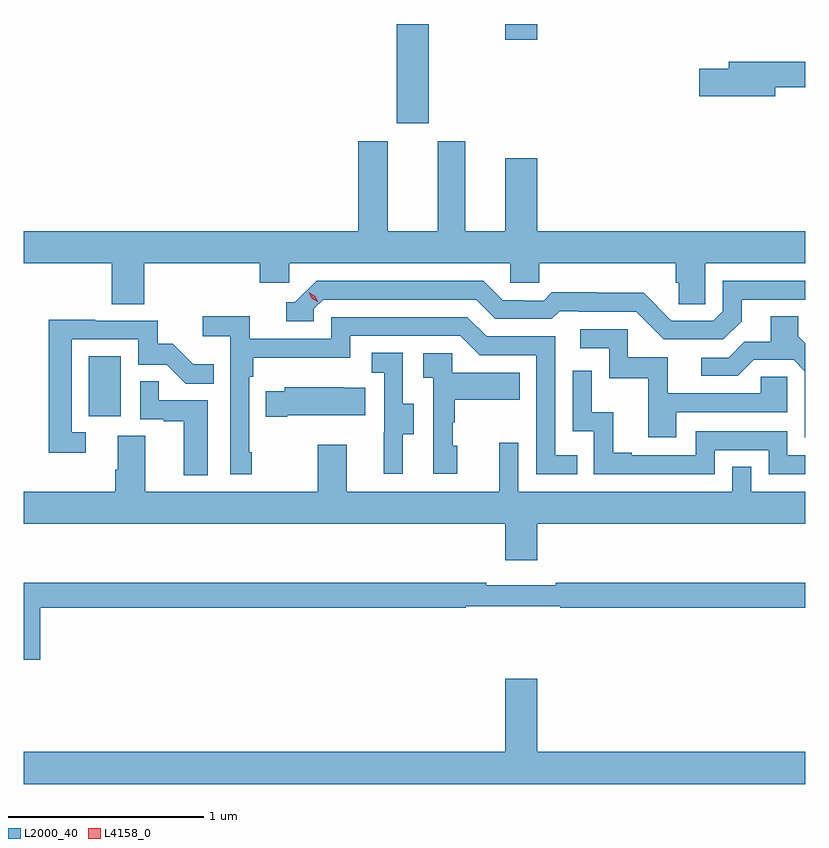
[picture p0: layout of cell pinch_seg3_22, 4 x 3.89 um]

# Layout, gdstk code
import gdstk
lib = gdstk.Library(unit=1e-6, precision=1e-09)
def R(c, l, rs):  # rectangles x0, y0, x1, y1
    for r in rs: c.add(gdstk.rectangle(r[:2], r[2:], *l))
def P(c, l, *ps):  # polygons
    for p in ps: c.add(gdstk.Polygon(p, *l))
L2000_40 = (2000, 40)
L4158_0 = (4158, 0)

pinch_seg3_22 = lib.new_cell('pinch_seg3_22')
R(pinch_seg3_22, L2000_40, [(1097.942,732.102,1098.106,732.409), (1099.517,733.602,1099.681,734.109), (1100.072,734.028,1100.236,734.109)])
P(pinch_seg3_22, L2000_40, [(1101.454,733.786),(1101.608,733.786),(1101.608,733.915),(1101.215,733.915),(1101.215,733.881),(1101.066,733.881),(1101.066,733.739),(1101.454,733.739)],
  [(1098.224,732.884),(1098.815,732.884),(1098.815,732.786),(1098.966,732.786),(1098.966,732.884),(1100.097,732.884),(1100.097,732.786),(1100.247,732.786),(1100.247,732.884),(1100.945,732.884),(1100.945,732.786),(1100.959,732.786),(1100.959,732.676),(1101.096,732.676),(1101.096,732.884),(1101.608,732.884),(1101.608,733.048),(1100.236,733.048),(1100.236,733.423),(1100.072,733.423),(1100.072,733.048),(1099.867,733.048),(1099.867,733.51),(1099.727,733.51),(1099.727,733.048),(1099.471,733.048),(1099.471,733.51),(1099.319,733.51),(1099.319,733.048),(1097.608,733.048),(1097.608,732.884),(1098.059,732.884),(1098.059,732.676),(1098.224,732.676)],
  [(1101.283,732.589),(1101.283,732.699),(1101.608,732.699),(1101.608,732.795),(1101.186,732.795),(1101.186,732.639),(1101.138,732.591),(1100.922,732.591),(1100.78,732.733),(1100.544,732.733),(1100.544,732.736),(1100.311,732.736),(1100.269,732.693),(1100.166,732.693),(1100.166,732.696),(1100.059,732.696),(1099.96,732.795),(1099.107,732.795),(1098.996,732.684),(1098.953,732.684),(1098.953,732.588),(1099.092,732.588),(1099.092,732.651),(1099.14,732.699),(1099.923,732.699),(1100.022,732.6),(1100.311,732.6),(1100.35,732.639),(1100.449,732.639),(1100.449,732.636),(1100.742,732.636),(1100.883,732.495),(1101.189,732.495)],
  [(1101.608,732.475),(1101.571,732.512),(1101.571,732.614),(1101.431,732.614),(1101.431,732.482),(1101.296,732.482),(1101.216,732.402),(1101.075,732.402),(1101.075,732.309),(1101.262,732.309),(1101.343,732.39),(1101.549,732.39),(1101.606,732.333),(1101.606,731.994),(1101.608,731.994)],
  [(1098.775,731.917),(1098.762,731.917),(1098.762,732.305),(1098.782,732.305),(1098.782,732.401),(1099.278,732.401),(1099.278,732.513),(1099.842,732.513),(1099.941,732.414),(1100.232,732.414),(1100.232,731.805),(1100.441,731.805),(1100.441,731.901),(1100.328,731.901),(1100.328,732.51),(1099.978,732.51),(1099.879,732.609),(1099.182,732.609),(1099.182,732.498),(1098.764,732.498),(1098.764,732.614),(1098.525,732.614),(1098.525,732.512),(1098.666,732.512),(1098.666,731.805),(1098.775,731.805)],
  [(1097.926,732.021),(1097.853,732.021),(1097.853,732.495),(1098.195,732.495),(1098.195,732.366),(1098.34,732.366),(1098.438,732.268),(1098.581,732.268),(1098.581,732.367),(1098.477,732.367),(1098.37,732.474),(1098.294,732.474),(1098.294,732.591),(1097.975,732.591),(1097.975,732.596),(1097.737,732.596),(1097.737,731.916),(1097.926,731.916)],
  [(1100.947,732.123),(1101.516,732.123),(1101.516,732.303),(1101.379,732.303),(1101.379,732.219),(1100.905,732.219),(1100.905,732.405),(1100.7,732.405),(1100.7,732.546),(1100.457,732.546),(1100.457,732.45),(1100.604,732.45),(1100.604,732.297),(1100.803,732.297),(1100.803,731.994),(1100.947,731.994)],
  [(1099.549,732.01),(1099.603,732.01),(1099.603,732.165),(1099.548,732.165),(1099.548,732.428),(1099.389,732.428),(1099.389,732.325),(1099.452,732.325),(1099.452,732.021),(1099.451,732.021),(1099.451,731.808),(1099.549,731.808)],
  [(1099.828,731.952),(1099.803,731.952),(1099.803,732.071),(1099.813,732.071),(1099.813,732.185),(1100.147,732.185),(1100.147,732.325),(1099.8,732.325),(1099.8,732.423),(1099.653,732.423),(1099.653,732.299),(1099.704,732.299),(1099.704,731.808),(1099.828,731.808)],
  [(1101.144,731.928),(1101.42,731.928),(1101.42,731.805),(1101.608,731.805),(1101.608,731.901),(1101.516,731.901),(1101.516,732.024),(1101.048,732.024),(1101.048,731.901),(1100.719,731.901),(1100.719,731.914),(1100.624,731.914),(1100.624,732.122),(1100.514,732.122),(1100.514,732.334),(1100.418,732.334),(1100.418,732.024),(1100.526,732.024),(1100.526,731.805),(1101.144,731.805)],
  [(1098.55,732.183),(1098.299,732.183),(1098.299,732.281),(1098.204,732.281),(1098.204,732.087),(1098.325,732.087),(1098.325,732.075),(1098.428,732.075),(1098.428,731.801),(1098.55,731.801)],
  [(1098.958,732.107),(1099.355,732.107),(1099.355,732.247),(1099.247,732.247),(1099.247,732.25),(1098.945,732.25),(1098.945,732.229),(1098.847,732.229),(1098.847,732.1),(1098.958,732.1)],
  [(1100.236,731.552),(1101.608,731.552),(1101.608,731.716),(1101.33,731.716),(1101.33,731.843),(1101.234,731.843),(1101.234,731.716),(1100.139,731.716),(1100.139,731.965),(1100.042,731.965),(1100.042,731.716),(1099.261,731.716),(1099.261,731.956),(1099.114,731.956),(1099.114,731.716),(1098.229,731.716),(1098.229,732.002),(1098.089,732.002),(1098.089,731.828),(1098.077,731.828),(1098.077,731.716),(1097.608,731.716),(1097.608,731.552),(1100.072,731.552),(1100.072,731.364),(1100.236,731.364)],
  [(1097.693,731.122),(1099.87,731.122),(1099.87,731.13),(1100.355,731.13),(1100.355,731.122),(1101.608,731.122),(1101.608,731.251),(1100.332,731.251),(1100.332,731.238),(1099.976,731.238),(1099.976,731.251),(1097.608,731.251),(1097.608,730.857),(1097.693,730.857)],
  [(1101.608,730.384),(1100.236,730.384),(1100.236,730.759),(1100.072,730.759),(1100.072,730.384),(1097.608,730.384),(1097.608,730.22),(1101.608,730.22)])
P(pinch_seg3_22, L4158_0, [(1099.115,732.684),(1099.084,732.704),(1099.068,732.737),(1099.068,732.737),(1099.068,732.737),(1099.099,732.717),(1099.115,732.684),(1099.115,732.684)])

lib.write_gds('pinch_seg3_22.gds')
